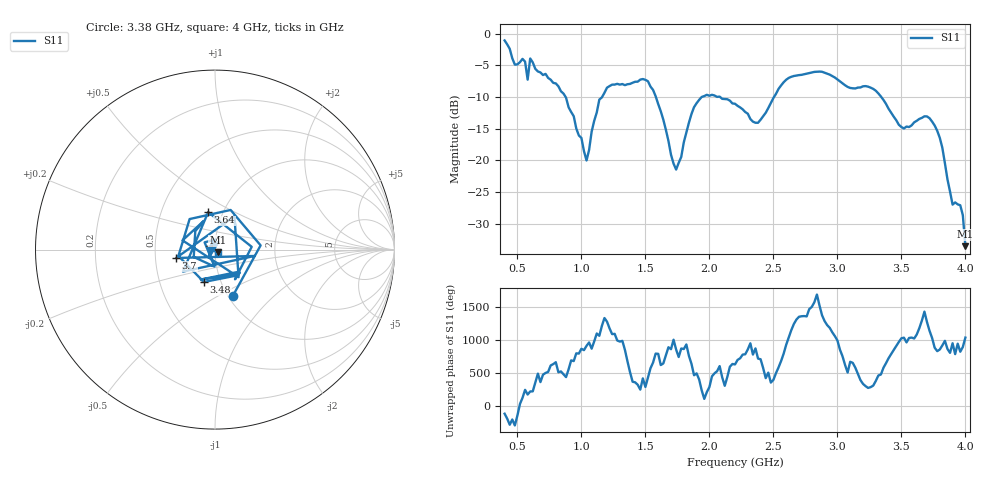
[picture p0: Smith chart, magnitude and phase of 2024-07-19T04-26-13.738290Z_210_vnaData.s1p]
!Created with skrf (http://scikit-rf.org).
# Hz S RI R 50.0
!freq ReS11 ImS11
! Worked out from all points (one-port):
!   181 points, 400 MHz to 4 GHz, reference 50 ohm
!   lowest |S11| = -33.6 dB at 4 GHz (marker M1), VSWR 1.04, Z = 51.5 - j1.46 ohm
!   |S11| at or under -10 dB: 1.582 GHz to 1.94 GHz (357.8 MHz wide, 20.3 % of centre); 2.083 GHz to 2.505 GHz (421.5 MHz wide, 18.4 % of centre); 3.343 GHz to end of sweep (the widest 3 of 4)
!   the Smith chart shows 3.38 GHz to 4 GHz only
!   S11 on the Smith chart (normalised r, x): 3.38 GHz: 1.05, -0.59; 3.48 GHz: 0.83, -0.31; 3.64 GHz: 0.85, +0.37; 3.7 GHz: 0.64, -0.06; 4 GHz: 1.03, -0.03
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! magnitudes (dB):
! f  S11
! 400 MHz  -1.1
! 480 MHz  -4.9
! 560 MHz  -4.4
! 580 MHz  -7.3
! 600 MHz  -3.9
! 860 MHz  -9.5
! 1.04 GHz  -20.0
! 1.14 GHz  -10.4
! 1.3 GHz  -8.0
! 1.52 GHz  -7.5
! 1.62 GHz  -12.3
! 1.72 GHz  -20.5
! 1.76 GHz  -20.4
! 1.86 GHz  -12.7
! 1.94 GHz  -10.0
! 2.2 GHz  -11.1
! 2.38 GHz  -14.1
! 2.66 GHz  -6.7
! 3.1 GHz  -8.6
! 3.38 GHz  -11.1
! 3.48 GHz  -14.4
! 3.56 GHz  -14.7
! 3.64 GHz  -13.5
! 3.7 GHz  -13.1
! 3.8 GHz  -16.5
! 3.9 GHz  -27.0
! 3.96 GHz  -27.1
! 4 GHz  -33.6
